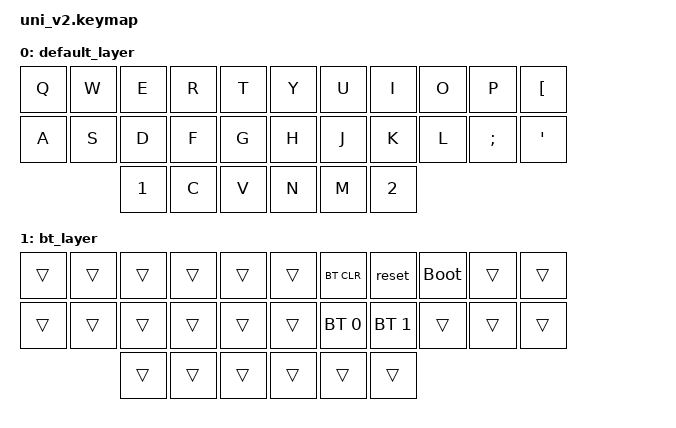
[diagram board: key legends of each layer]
#include <behaviors.dtsi>
#include <dt-bindings/zmk/keys.h>
#include <dt-bindings/zmk/bt.h>

/ {

    combos {
        compatible = "zmk,combos";

        // DEFAULT LAYER COMBOS
        combo_bt {
            timeout-ms = <50>;
            key-positions = <4 5>; // try 4 5 15 16 assuming this works, to avoid accidental press
            bindings = <&mo 1>;
            layers = <0>;
        }; 

        // BLUETOOTH LAYER COMBOS
        combo_default {
            timeout-ms = <50>;
            key-positions = <4 5>;
            bindings = <&mo 0>;
            layers = <1>;
        };
    }; 
};



/ {
    keymap {
        compatible = "zmk,keymap";

        default_layer {
// -------------------------------------------------------------------------------------
// |  Q  |  W  |  E  |  R  |  T  |  Y  |  U  |  I  |  O  |  P  |  [  |
// |  A  |  S  |  D  |  F  |  G  |  H  |  J  |  K  |  L  |  ;  |  '  |
// |     |     |  1  |  C  |  V  |  N  |  M  |  2  |     |     |     |
            bindings = <
   &kp Q &kp W &kp E  &kp R &kp T &kp Y &kp U &kp I  &kp O &kp P    &kp LBKT
   &kp A &kp S &kp D  &kp F &kp G &kp H &kp J &kp K  &kp L &kp SEMI &kp SQT
               &kp N1 &kp C &kp V &kp N &kp M &kp N2
            >;
        };
        bt_layer {
// -------------------------------------------------------------------------------------
// |     |     |     |     |     |     |  CLR  |  RST  |  BOOT  |     |     |
// |     |     |     |     |     |     |  BT0  |  BT1  |        |     |     |
// |     |     |     |     |     |     |       |       |        |     |     |
                        bindings = <
    &trans  &trans  &trans  &trans  &trans  &trans  &bt BT_CLR    &reset        &bootloader  &trans  &trans
    &trans  &trans  &trans  &trans  &trans  &trans  &bt BT_SEL 0  &bt BT_SEL 1  &trans       &trans  &trans
    &trans  &trans  &trans  &trans  &trans  &trans
                        >;
        };
    };
};
